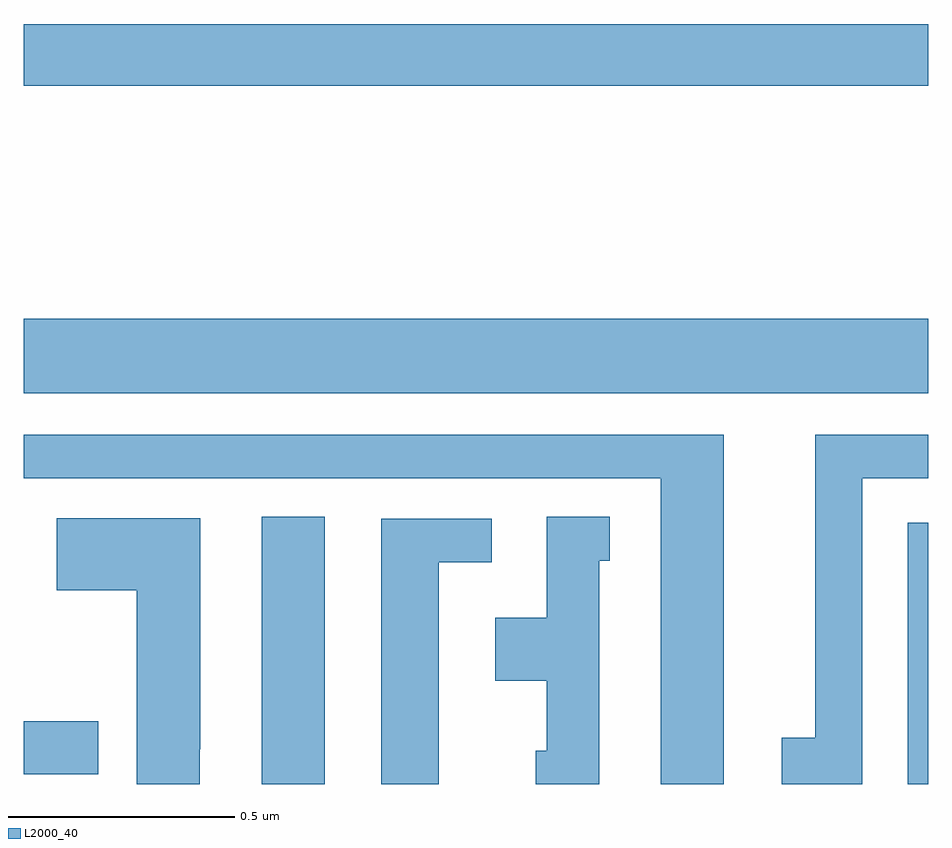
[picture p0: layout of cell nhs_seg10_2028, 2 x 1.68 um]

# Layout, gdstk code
import gdstk
lib = gdstk.Library(unit=1e-6, precision=1e-09)
def R(c, l, rs):  # rectangles x0, y0, x1, y1
    for r in rs: c.add(gdstk.rectangle(r[:2], r[2:], *l))
def P(c, l, *ps):  # polygons
    for p in ps: c.add(gdstk.Polygon(p, *l))
L2000_40 = (2000, 40)

nhs_seg10_2028 = lib.new_cell('nhs_seg10_2028')
R(nhs_seg10_2028, L2000_40, [(136.526,1251.5,136.666,1252.091), (137.954,1251.5,138,1252.077), (136,1251.522,136.165,1251.639), (136,1252.364,138,1252.528), (136,1253.044,138,1253.18)])
P(nhs_seg10_2028, L2000_40, [(137.854,1252.176),(138,1252.176),(138,1252.272),(137.75,1252.272),(137.75,1251.602),(137.676,1251.602),(137.676,1251.5),(137.854,1251.5)],
  [(137.548,1252.272),(136,1252.272),(136,1252.176),(137.408,1252.176),(137.408,1251.5),(137.548,1251.5)],
  [(137.272,1251.993),(137.296,1251.993),(137.296,1252.091),(137.156,1252.091),(137.156,1251.868),(137.042,1251.868),(137.042,1251.728),(137.156,1251.728),(137.156,1251.573),(137.132,1251.573),(137.132,1251.5),(137.272,1251.5)],
  [(136.389,1251.577),(136.39,1251.577),(136.39,1252.087),(136.073,1252.087),(136.073,1251.928),(136.25,1251.928),(136.25,1251.5),(136.389,1251.5)],
  [(136.918,1251.99),(137.035,1251.99),(137.035,1252.086),(136.79,1252.086),(136.79,1251.5),(136.918,1251.5)])

lib.write_gds('nhs_seg10_2028.gds')
